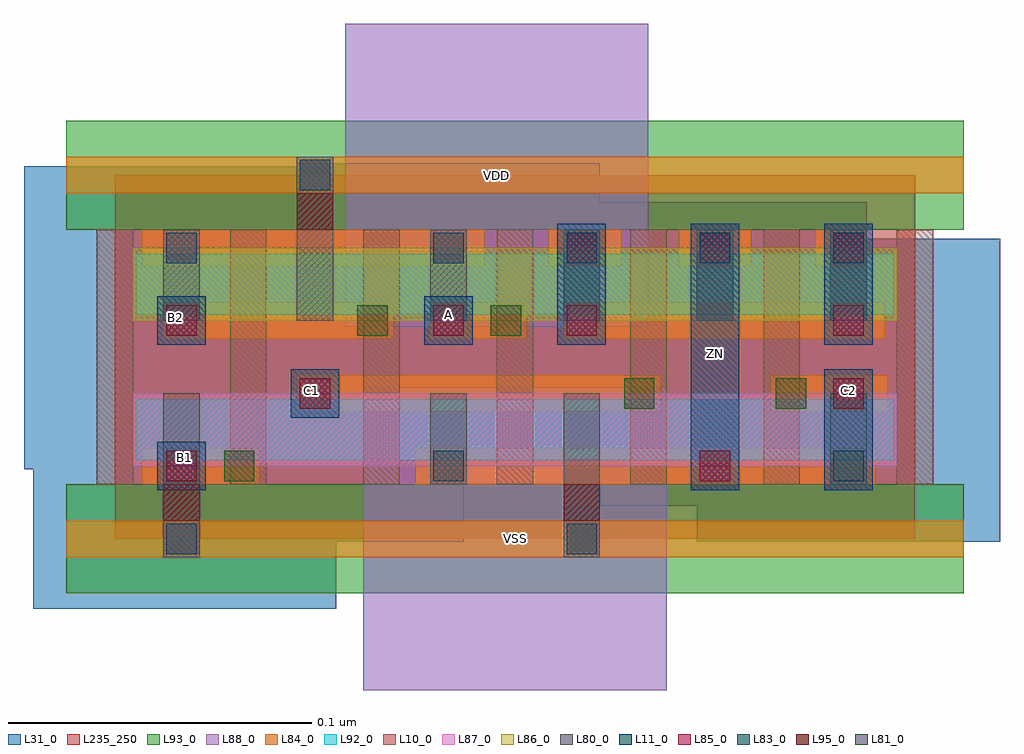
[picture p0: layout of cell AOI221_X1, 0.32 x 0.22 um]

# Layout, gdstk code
import gdstk
lib = gdstk.Library(unit=1e-6, precision=1e-09)
def R(c, l, rs):  # rectangles x0, y0, x1, y1
    for r in rs: c.add(gdstk.rectangle(r[:2], r[2:], *l))
def A(c, l, x, y, w, h, nx, ny, dx, dy):  # array of equal rectangles
    R(c, l, [(x+i*dx, y+j*dy, x+i*dx+w, y+j*dy+h) for i in range(nx) for j in range(ny)])
L10_0 = (10, 0)
L11_0 = (11, 0)
L31_0 = (31, 0)
L80_0 = (80, 0)
L81_0 = (81, 0)
L83_0 = (83, 0)
L84_0 = (84, 0)
L85_0 = (85, 0)
L86_0 = (86, 0)
L87_0 = (87, 0)
L88_0 = (88, 0)
L92_0 = (92, 0)
L93_0 = (93, 0)
L95_0 = (95, 0)
L235_250 = (235, 250)

aoi221_x1 = lib.new_cell('AOI221_X1')
A(aoi221_x1, L10_0, -0.006, 0.018, 0.012, 0.084, 7, 1, 0.044, 0)
R(aoi221_x1, L11_0, [(0.014,0.016,0.03,0.032), (0.19,0.016,0.206,0.104), (0.234,0.016,0.25,0.056), (0.058,0.04,0.074,0.056), (0.014,0.064,0.03,0.08), (0.102,0.064,0.118,0.08), (0.146,0.064,0.162,0.104), (0.234,0.064,0.25,0.104)])
R(aoi221_x1, L31_0, [(-0.027,-0.023,0.073,0.077), (0.015,-0.001,0.115,0.099), (0.192,-0.001,0.292,0.099), (0.148,0.011,0.248,0.111), (-0.03,0.023,0.07,0.123), (0.06,0.024,0.16,0.124)])
A(aoi221_x1, L80_0, 0.104, 0.072, 0.012, 0.03, 4, 1, 0.044, 0)
R(aoi221_x1, L80_0, [(0.016,-0.006,0.028,0.048), (0.148,-0.006,0.16,0.048), (0.104,0.018,0.116,0.048), (0.236,0.018,0.248,0.048), (0.016,0.072,0.028,0.102), (0.06,0.072,0.072,0.126)])
R(aoi221_x1, L81_0, [(0.036,0.019,0.046,0.029), (0.168,0.043,0.178,0.053), (0.218,0.043,0.228,0.053), (0.08,0.067,0.09,0.077), (0.124,0.067,0.134,0.077)])
A(aoi221_x1, L83_0, 0.105, 0.091, 0.01, 0.01, 4, 1, 0.044, 0)
R(aoi221_x1, L83_0, [(0.017,-0.005,0.027,0.005), (0.149,-0.005,0.159,0.005), (0.105,0.019,0.115,0.029), (0.237,0.019,0.247,0.029), (0.017,0.091,0.027,0.101), (0.061,0.115,0.071,0.125)])
R(aoi221_x1, L84_0, [(-0.016,-0.006,0.28,0.006), (0.009,0.018,0.048,0.03), (0.099,0.018,0.251,0.03), (0.06,0.042,0.18,0.054), (0.216,0.042,0.255,0.054), (0.016,0.066,0.092,0.078), (0.104,0.066,0.136,0.078), (0.148,0.066,0.254,0.078), (0.009,0.09,0.122,0.102), (0.143,0.09,0.167,0.102), (0.186,0.09,0.21,0.102), (0.231,0.09,0.248,0.102), (-0.016,0.114,0.28,0.126)])
A(aoi221_x1, L85_0, 0.149, 0.091, 0.01, 0.01, 3, 1, 0.044, 0)
R(aoi221_x1, L85_0, [(0.017,0.019,0.027,0.029), (0.193,0.019,0.203,0.029), (0.061,0.043,0.071,0.053), (0.237,0.043,0.247,0.053), (0.017,0.067,0.027,0.077), (0.105,0.067,0.115,0.077), (0.149,0.067,0.159,0.077), (0.237,0.067,0.247,0.077)])
R(aoi221_x1, L86_0, [(0.006,0.072,0.258,0.096)])
R(aoi221_x1, L87_0, [(0.006,0.024,0.258,0.048)])
R(aoi221_x1, L88_0, [(0.082,-0.05,0.182,0.05), (0.076,0.07,0.176,0.17)])
R(aoi221_x1, L92_0, [(0.007,0.026,0.257,0.046), (0.007,0.074,0.257,0.094)])
R(aoi221_x1, L93_0, [(-0.016,-0.018,0.28,0.018), (-0.016,0.102,0.28,0.138)])
R(aoi221_x1, L95_0, [(0.016,0.006,0.028,0.018), (0.148,0.006,0.16,0.018), (0.148,0.006,0.16,0.018), (0.06,0.102,0.072,0.114)])
R(aoi221_x1, L235_250, [(0,0,0.264,0.12)])
aoi221_x1.add(gdstk.Label('VSS', (0.132,0), layer=88, texttype=0))
aoi221_x1.add(gdstk.Label('VDD', (0.126,0.12), layer=88, texttype=0))
aoi221_x1.add(gdstk.Label('A', (0.11,0.074), layer=31, texttype=0))
aoi221_x1.add(gdstk.Label('B1', (0.023,0.027), layer=31, texttype=0))
aoi221_x1.add(gdstk.Label('ZN', (0.198,0.061), layer=31, texttype=0))
aoi221_x1.add(gdstk.Label('B2', (0.02,0.073), layer=31, texttype=0))
aoi221_x1.add(gdstk.Label('C1', (0.065,0.049), layer=31, texttype=0))
aoi221_x1.add(gdstk.Label('C2', (0.242,0.049), layer=31, texttype=0))

lib.write_gds('AOI221_X1.gds')
